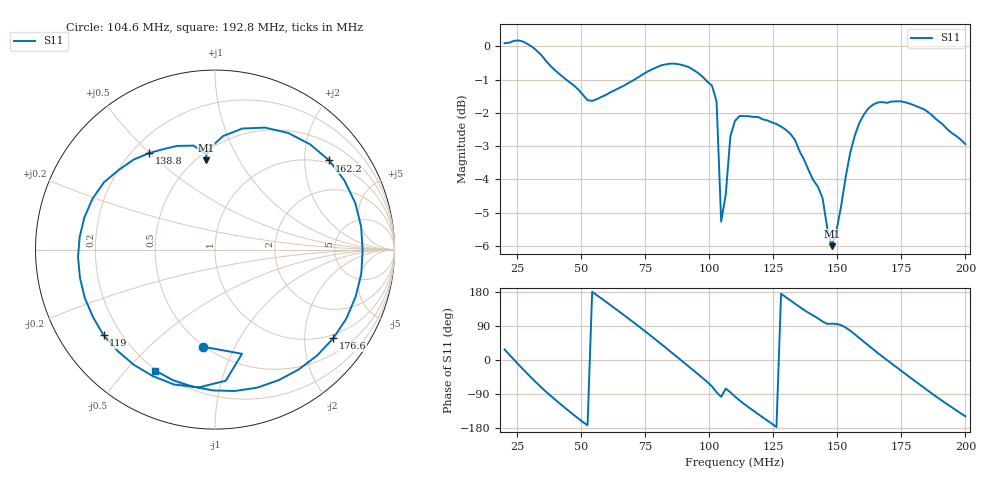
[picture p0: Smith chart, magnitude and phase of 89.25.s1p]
# HZ S RI R 50
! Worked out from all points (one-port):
!   101 points, 20 MHz to 200 MHz, reference 50 ohm
!   lowest |S11| = -6.0 dB at 147.8 MHz (marker M1), VSWR 3.01, Z = 27.7 + j36.8 ohm
!   |S11| at or under -10 dB: nowhere
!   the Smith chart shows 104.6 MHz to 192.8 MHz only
!   S11 on the Smith chart (normalised r, x): 104.6 MHz: 0.49, -0.76; 119 MHz: 0.14, -0.33; 138.8 MHz: 0.27, +0.50; 162.2 MHz: 0.92, +2.62; 176.6 MHz: 0.89, -2.74; 192.8 MHz: 0.20, -0.60
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2e7  0.8956 0.4691
2.54e7  0.9992 -0.2075
3.26e7  0.4755 -0.8621
3.8e7  -0.0733 -0.9308
4.34e7  -0.5155 -0.7321
5.42e7  -0.8279 0.00526
6.5e7  -0.5161 0.6964
7.58e7  0.2991 0.8659
8.84e7  0.9384 0.0376
9.38e7  0.8162 -0.4271
1.01e8  0.3041 -0.818
1.028e8  0.0692 -0.8235
1.046e8  -0.0668 -0.541
1.064e8  0.1503 -0.5805
1.1e8  -0.0885 -0.7676
1.19e8  -0.6211 -0.4771
1.262e8  -0.7631 -0.0421
1.334e8  -0.6192 0.3744
1.388e8  -0.3659 0.538
1.478e8  -0.0507 0.4981
1.55e8  0.1522 0.6745
1.622e8  0.6364 0.4965
1.694e8  0.8223 -0.00595
1.766e8  0.6586 -0.4946
1.784e8  0.5694 -0.5898
1.856e8  0.1109 -0.7878
1.928e8  -0.3325 -0.6739
2e8  -0.6089 -0.3702
